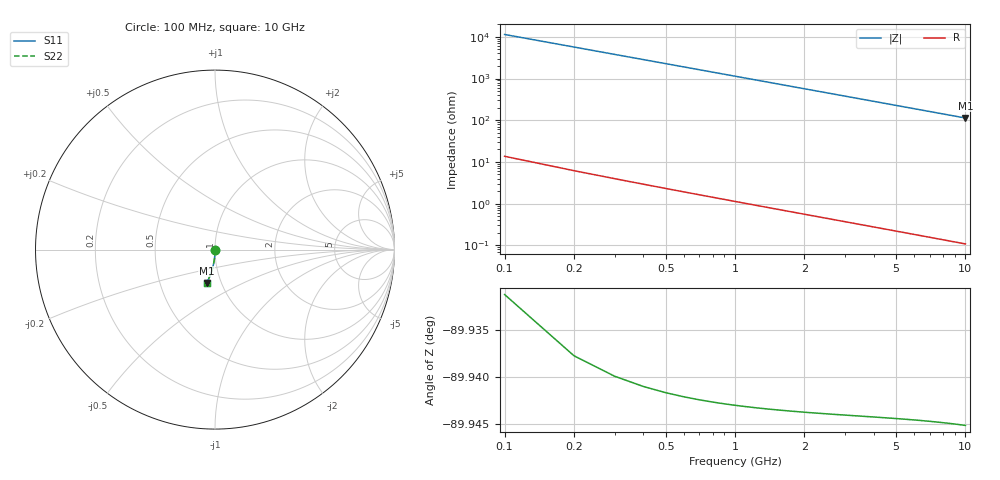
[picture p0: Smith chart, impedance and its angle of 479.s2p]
# Hz S RI R 50.00
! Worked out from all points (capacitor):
!   100 points, 100 MHz to 10 GHz, reference 50 ohm
!   read as one part in shunt: C = 140 fF near 100 MHz
!   lowest |Z| = 113 ohm at 10 GHz (marker M1)
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1e8  9.14e-05 -0.00194  0.9999 -0.00245  0.9999 -0.00245  9.14e-05 -0.00194
2e8  7.56e-05 -0.00388  0.9999 -0.00491  0.9999 -0.00491  7.56e-05 -0.00388
3e8  5.01e-05 -0.00583  0.9998 -0.00736  0.9998 -0.00736  5.01e-05 -0.00583
4e8  1.5e-05 -0.00777  0.9998 -0.00982  0.9998 -0.00982  1.5e-05 -0.00777
5e8  -2.97e-05 -0.00971  0.9998 -0.0123  0.9998 -0.0123  -2.97e-05 -0.00971
6e8  -8.39e-05 -0.0117  0.9997 -0.0147  0.9997 -0.0147  -8.39e-05 -0.0117
7e8  -0.000148 -0.0136  0.9996 -0.0172  0.9996 -0.0172  -0.000148 -0.0136
8e8  -0.000221 -0.0155  0.9996 -0.0196  0.9996 -0.0196  -0.000221 -0.0155
9e8  -0.000304 -0.0175  0.9995 -0.0221  0.9995 -0.0221  -0.000304 -0.0175
1.1e9  -0.000499 -0.0214  0.9993 -0.027  0.9993 -0.027  -0.000499 -0.0214
1.4e9  -0.000862 -0.0272  0.9989 -0.0343  0.9989 -0.0343  -0.000862 -0.0272
1.8e9  -0.00148 -0.0349  0.9983 -0.0441  0.9983 -0.0441  -0.00148 -0.0349
2.1e9  -0.00204 -0.0407  0.9977 -0.0515  0.9977 -0.0515  -0.00204 -0.0407
2.5e9  -0.00293 -0.0485  0.9968 -0.0613  0.9968 -0.0613  -0.00293 -0.0485
2.9e9  -0.00396 -0.0562  0.9957 -0.071  0.9957 -0.071  -0.00396 -0.0562
3.4e9  -0.00547 -0.0658  0.9942 -0.0832  0.9942 -0.0832  -0.00547 -0.0658
4.2e9  -0.00838 -0.0811  0.9912 -0.1026  0.9912 -0.1026  -0.00838 -0.0811
5.1e9  -0.0124 -0.0981  0.9871 -0.1243  0.9871 -0.1243  -0.0124 -0.0981
5.9e9  -0.0165 -0.1131  0.9828 -0.1434  0.9828 -0.1434  -0.0165 -0.1131
6.7e9  -0.0212 -0.1278  0.9779 -0.1623  0.9779 -0.1623  -0.0212 -0.1278
8.4e9  -0.0331 -0.1584  0.9657 -0.2017  0.9657 -0.2017  -0.0331 -0.1584
1e10  -0.0465 -0.186  0.9519 -0.2377  0.9519 -0.2377  -0.0465 -0.186
